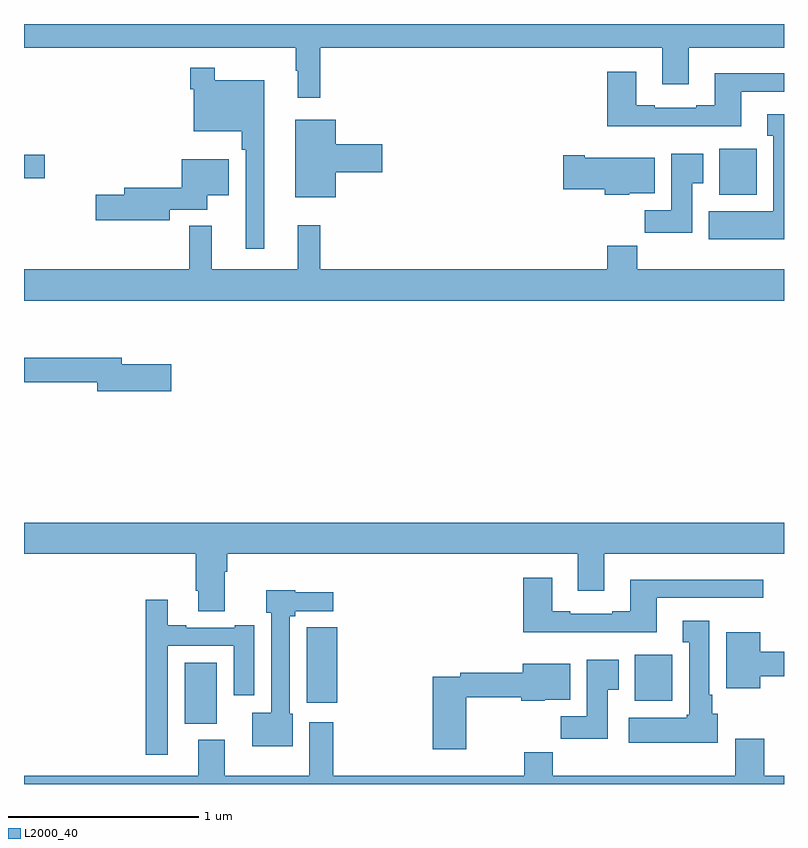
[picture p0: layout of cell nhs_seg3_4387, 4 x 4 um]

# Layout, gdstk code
import gdstk
lib = gdstk.Library(unit=1e-6, precision=1e-09)
def R(c, l, rs):  # rectangles x0, y0, x1, y1
    for r in rs: c.add(gdstk.rectangle(r[:2], r[2:], *l))
def P(c, l, *ps):  # polygons
    for p in ps: c.add(gdstk.Polygon(p, *l))
L2000_40 = (2000, 40)

nhs_seg3_4387 = lib.new_cell('nhs_seg3_4387')
R(nhs_seg3_4387, L2000_40, [(345.845,670.718,346.015,671.038), (346.487,670.827,346.649,671.225), (348.215,670.838,348.412,671.08), (348.659,673.502,348.856,673.744), (345,673.589,345.109,673.711)])
P(nhs_seg3_4387, L2000_40, [(346.559,674.276),(348.359,674.276),(348.359,674.082),(348.499,674.082),(348.499,674.276),(349,674.276),(349,674.4),(345,674.4),(345,674.276),(346.431,674.276),(346.431,674.153),(346.442,674.153),(346.442,674.013),(346.559,674.013)],
  [(346.264,674.104),(346.003,674.104),(346.003,674.17),(345.874,674.17),(345.874,674.057),(345.894,674.057),(345.894,673.835),(346.147,673.835),(346.147,673.739),(346.167,673.739),(346.167,673.218),(346.264,673.218)],
  [(348.775,674.043),(349,674.043),(349,674.14),(348.635,674.14),(348.635,673.972),(348.539,673.972),(348.539,673.959),(348.319,673.959),(348.319,673.972),(348.223,673.972),(348.223,674.149),(348.071,674.149),(348.071,673.862),(348.775,673.862)],
  [(349,673.924),(348.911,673.924),(348.911,673.811),(348.944,673.811),(348.944,673.414),(348.605,673.414),(348.605,673.268),(349,673.268)],
  [(346.642,673.619),(346.885,673.619),(346.885,673.766),(346.642,673.766),(346.642,673.897),(346.427,673.897),(346.427,673.487),(346.642,673.487)],
  [(348.517,673.561),(348.574,673.561),(348.574,673.717),(348.407,673.717),(348.407,673.42),(348.268,673.42),(348.268,673.302),(348.517,673.302)],
  [(348.186,673.508),(348.319,673.508),(348.319,673.696),(347.95,673.696),(347.95,673.709),(347.838,673.709),(347.838,673.531),(348.056,673.531),(348.056,673.502),(348.186,673.502)],
  [(345.766,673.422),(345.964,673.422),(345.964,673.499),(346.078,673.499),(346.078,673.687),(345.83,673.687),(345.83,673.538),(345.527,673.538),(345.527,673.502),(345.378,673.502),(345.378,673.367),(345.766,673.367)],
  [(349,673.108),(348.227,673.108),(348.227,673.232),(348.071,673.232),(348.071,673.108),(346.559,673.108),(346.559,673.342),(346.442,673.342),(346.442,673.108),(345.989,673.108),(345.989,673.337),(345.871,673.337),(345.871,673.108),(345,673.108),(345,672.944),(349,672.944)],
  [(345.775,672.609),(345.514,672.609),(345.514,672.643),(345,672.643),(345,672.514),(345.386,672.514),(345.386,672.467),(345.775,672.467)],
  [(346.057,671.516),(346.07,671.516),(346.07,671.612),(347.915,671.612),(347.915,671.418),(348.055,671.418),(348.055,671.612),(349,671.612),(349,671.776),(345,671.776),(345,671.612),(345.905,671.612),(345.905,671.416),(345.917,671.416),(345.917,671.308),(346.057,671.308)],
  [(348.331,671.379),(348.892,671.379),(348.892,671.476),(348.191,671.476),(348.191,671.308),(348.095,671.308),(348.095,671.295),(347.875,671.295),(347.875,671.308),(347.779,671.308),(347.779,671.485),(347.627,671.485),(347.627,671.198),(348.331,671.198)],
  [(346.414,670.77),(346.398,670.77),(346.398,671.282),(346.428,671.282),(346.428,671.31),(346.627,671.31),(346.627,671.408),(346.428,671.408),(346.428,671.419),(346.274,671.419),(346.274,671.301),(346.302,671.301),(346.302,670.774),(346.202,670.774),(346.202,670.598),(346.414,670.598)],
  [(345.756,671.127),(346.103,671.127),(346.103,670.866),(346.213,670.866),(346.213,671.236),(346.109,671.236),(346.109,671.223),(345.853,671.223),(345.853,671.236),(345.757,671.236),(345.757,671.371),(345.64,671.371),(345.64,670.554),(345.756,670.554)],
  [(348.652,670.77),(348.622,670.77),(348.622,670.87),(348.607,670.87),(348.607,671.26),(348.467,671.26),(348.467,671.147),(348.5,671.147),(348.5,670.764),(348.487,670.764),(348.487,670.75),(348.183,670.75),(348.183,670.616),(348.652,670.616)],
  [(348.874,670.968),(349,670.968),(349,671.096),(348.874,671.096),(348.874,671.2),(348.695,671.2),(348.695,670.904),(348.874,670.904)],
  [(348.073,670.897),(348.13,670.897),(348.13,671.053),(347.963,671.053),(347.963,670.756),(347.824,670.756),(347.824,670.638),(348.073,670.638)],
  [(347.328,670.857),(347.617,670.857),(347.617,670.838),(347.742,670.838),(347.742,670.844),(347.875,670.844),(347.875,671.032),(347.624,671.032),(347.624,670.985),(347.296,670.985),(347.296,670.965),(347.15,670.965),(347.15,670.584),(347.328,670.584)],
  [(349,670.444),(348.896,670.444),(348.896,670.639),(348.743,670.639),(348.743,670.444),(347.783,670.444),(347.783,670.568),(347.632,670.568),(347.632,670.444),(346.628,670.444),(346.628,670.726),(346.502,670.726),(346.502,670.444),(346.057,670.444),(346.057,670.633),(345.917,670.633),(345.917,670.444),(345,670.444),(345,670.4),(349,670.4)])

lib.write_gds('nhs_seg3_4387.gds')
